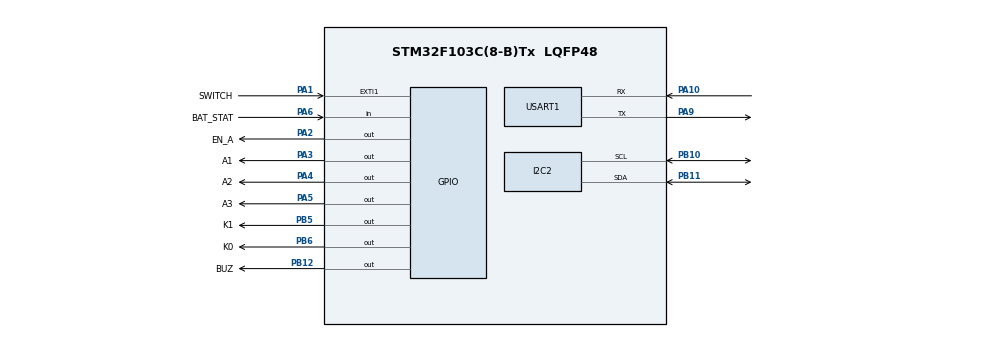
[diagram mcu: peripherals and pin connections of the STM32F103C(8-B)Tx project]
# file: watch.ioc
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Mcu.Family=STM32F1
Mcu.Name=STM32F103C(8-B)Tx
Mcu.Package=LQFP48
NVIC.EXTI1_IRQn=true\:0\:0\:false\:false\:true\:true\:true
NVIC.PriorityGroup=NVIC_PRIORITYGROUP_4
NVIC.TIM2_IRQn=true\:0\:0\:false\:false\:true\:true\:true
NVIC.TIM3_IRQn=true\:0\:0\:false\:false\:true\:true\:true
PA0-WKUP.Mode=SYS_WakeUp0
PA0-WKUP.Signal=SYS_WKUP
PA1.GPIO_Label=SWITCH
PA1.GPIO_ModeDefaultEXTI=GPIO_MODE_IT_RISING_FALLING
PA1.Signal=GPXTI1
PA10.Mode=Asynchronous
PA10.Signal=USART1_RX
PA13.Mode=Serial_Wire
PA13.Signal=SYS_JTMS-SWDIO
PA14.Mode=Serial_Wire
PA14.Signal=SYS_JTCK-SWCLK
PA2.GPIO_Label=EN_A
PA2.Signal=GPIO_Output
PA3.GPIO_Label=A1
PA3.Signal=GPIO_Output
PA4.GPIO_Label=A2
PA4.Signal=GPIO_Output
PA5.GPIO_Label=A3
PA5.Signal=GPIO_Output
PA6.GPIO_Label=BAT_STAT
PA6.Signal=GPIO_Input
PA9.Mode=Asynchronous
PA9.Signal=USART1_TX
PB10.Mode=I2C
PB10.Signal=I2C2_SCL
PB11.Mode=I2C
PB11.Signal=I2C2_SDA
PB12.GPIO_Label=BUZ
PB12.Signal=GPIO_Output
PB5.GPIO_Label=K1
PB5.Signal=GPIO_Output
PB6.GPIO_Label=K0
PB6.Signal=GPIO_Output
PC14-OSC32_IN.Mode=LSE-External-Oscillator
PC14-OSC32_IN.Signal=RCC_OSC32_IN
PC15-OSC32_OUT.Mode=LSE-External-Oscillator
PC15-OSC32_OUT.Signal=RCC_OSC32_OUT
ProjectManager.HeapSize=0x200
ProjectManager.StackSize=0x400
ProjectManager.TargetToolchain=STM32CubeIDE
RCC.APB1Freq_Value=8000000
RCC.APB2Freq_Value=8000000
RCC.RTCClockSelection=RCC_RTCCLKSOURCE_LSE
TIM2.ClockDivision=TIM_CLOCKDIVISION_DIV4
TIM2.Period=999
TIM2.Prescaler=7999
TIM3.AutoReloadPreload=TIM_AUTORELOAD_PRELOAD_DISABLE
TIM3.Period=9
TIM3.Prescaler=99
USART1.VirtualMode=VM_ASYNC
VP_TIM2_VS_ClockSourceINT.Mode=Internal
VP_TIM3_VS_ClockSourceINT.Mode=Internal
board=custom

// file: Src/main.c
/* USER CODE BEGIN Header */
/**
 ******************************************************************************
 * @file           : main.c
 * @brief          : Main program body
 ******************************************************************************
 * @attention
 *
 * <h2><center>&copy; Copyright (c) 2019 STMicroelectronics.
 * All rights reserved.</center></h2>
 *
 * This software component is licensed by ST under BSD 3-Clause license,
 * the "License"; You may not use this file except in compliance with the
 * License. You may obtain a copy of the License at:
 *                        opensource.org/licenses/BSD-3-Clause
 *
 ******************************************************************************
 */
/* USER CODE END Header */

#include "main.h"

I2C_HandleTypeDef hi2c2;

TIM_HandleTypeDef htim2;
TIM_HandleTypeDef htim3;

UART_HandleTypeDef huart1;

/* USER CODE BEGIN PV */

struct LED_CONFIG {
	int led_count;
	int brightness_steps;
} led_config = { .led_count = LED_COUNT, .brightness_steps = 10 };

int counter = 0;

//LEDs and shit
uint8_t brightness[LED_COUNT];
uint8_t brightnessB[LED_COUNT];

uint8_t * ptr_buffer = &brightness[0];
uint8_t * ptr_draw = &brightnessB[0];

uint8_t brt_values[6] = { 0b00000, 0b00100, 0b01010, 0b10101, 0b11011, 0b11111 };

uint8_t blink[16] = { 0, 0, 0, 0, 0, 0, 0, 0, 0, 0, 0, 0, 0, 0, 0, 0 };
uint8_t blink_stat[16] = { 0, 0, 0, 0, 0, 0, 0, 0, 0, 0, 0, 0, 0, 0, 0, 0 };

static uint8_t offsetLED_mapping[4] = { 14, 15, 13, 12 };
//INPUT
int button_state = 0; // 0 = none, 1 = short 2 = long
uint32_t button_time = 0;
const uint32_t button_time_thr = 700;
//Timekeeping
uint8_t hours = 0;
uint8_t minutes = 7;
uint8_t seconds = 0;
uint32_t timestamp = 0;
uint16_t cnth = 0;
int en_timekeeping = 1;
//Timeout
int timeout_state = 0;
static uint32_t timeout[3] = { 0, 10000, 30000 };
int timeout_ref = 0;

//State machine
enum {
	time, menue, program, timeset
};
int state = time;

//Animation
int animation_counter;
/* USER CODE END PV */

void SystemClock_Config(void);
static void MX_GPIO_Init(void);
static void MX_I2C2_Init(void);
static void MX_USART1_UART_Init(void);
static void MX_TIM3_Init(void);
static void MX_TIM2_Init(void);
/* USER CODE BEGIN PFP */
//LEDs
static void flip_Framebuffer();

void set_Time(uint32_t);

static void animation();
static void clear_wakeup();
static void reset_timeout();
static void second_Expired();
static void standby();
uint32_t read_RTC();

/* USER CODE END PFP */

/* USER CODE BEGIN 0 */
uint8_t get_Minute_led() {
	return minutes / 5;
}
uint8_t get_Minute_Offset_led() {
	int val = minutes % 5;
	if (val == 0) {
		return 17;
	}
	return offsetLED_mapping[val - 1];
}
uint8_t get_Hour_led() {
	return hours;
}

void clear_blink() {
	for (int i = 0; i < LED_COUNT; i++) {
		ptr_buffer[i] = 0;
		blink[i] = 0;
		blink_stat[i] = 0;
	}
}

void animation() {
	animation_counter++;
	if (animation_counter >= 1000) {
		animation_counter = 0;
	}
	//blink
	for (int i = 0; i < LED_COUNT; i++) {
		if (blink[i] != 0) {
			if (animation_counter % blink[i] == 0) {
				blink_stat[i] = !blink_stat[i];

			}

			ptr_buffer[i] = blink_stat[i] * 5;
		}
	}

}

void tick() {
	int ticks = HAL_GetTick();
	//Gets called by SysTick_Handler
	if (button_time != 0 && ticks - button_time >= button_time_thr) {
		// Thats a long button press my friends
		button_state = 2;
		button_time = 0;
	}

	//Timeout
	if (timeout[timeout_state] != 0
			&& ticks - timeout_ref > timeout[timeout_state]) {
		standby();
	}
}
void HAL_GPIO_EXTI_Callback(uint16_t GPIO_Pin) {
	reset_timeout();
	if (HAL_GPIO_ReadPin(SWITCH_GPIO_Port, SWITCH_Pin)) {
		//Button pressed
		button_state = 0;
		button_time = HAL_GetTick();

	} else {
		//Button released
		if (HAL_GetTick() - button_time < button_time_thr && button_time != 0) {

			button_state = 1;

		}
		button_time = 0;

	}

}
void HAL_TIM_PeriodElapsedCallback(TIM_HandleTypeDef *htim) {
	if (htim->Instance == TIM3) {
		//Deactivate Matrix
		HAL_GPIO_WritePin(K0_GPIO_Port, K0_Pin, 0);
		HAL_GPIO_WritePin(K1_GPIO_Port, K1_Pin, 0);
		HAL_GPIO_WritePin(EN_A_GPIO_Port, EN_A_Pin, 1);

		//Decide which LED to illuminate
		// 00100 01010 10101 11011 11111
		int led = counter % LED_COUNT;
		int brt_step = (counter / LED_COUNT);
		int curr_brt = ptr_draw[led];
		int en = (brt_values[curr_brt] >> brt_step) & 0x1;
		//Control matrix
		if (en) {

			int temp = led % 8;
			int A1 = temp & 0b1;
			int A2 = (temp & 0b10) >> 1;
			int A3 = (temp & 0b100) >> 2;
			int K0 = 1 - led / 8;
			int K1 = led / 8;

			HAL_GPIO_WritePin(A1_GPIO_Port, A1_Pin, A1);
			HAL_GPIO_WritePin(A2_GPIO_Port, A2_Pin, A2);
			HAL_GPIO_WritePin(A3_GPIO_Port, A3_Pin, A3);
			HAL_GPIO_WritePin(K0_GPIO_Port, K0_Pin, K0);
			HAL_GPIO_WritePin(K1_GPIO_Port, K1_Pin, K1);
			HAL_GPIO_WritePin(EN_A_GPIO_Port, EN_A_Pin, 0);

		} else {
			/*HAL_GPIO_WritePin(EN_A_GPIO_Port, EN_A_Pin, 1);
			 HAL_GPIO_WritePin(K0_GPIO_Port, K0_Pin, 0);
			 HAL_GPIO_WritePin(K1_GPIO_Port, K1_Pin, 0);*/
		}

		//counter
		counter++;
		if (counter >= 16 * 6) {
			counter = 0;
		}

	} else if (htim->Instance == TIM2) {
		//animation();
		second_Expired();
	}
}
static void flip_Framebuffer() {
	//DO SOME SWAP MAGIC (TM)
	uint8_t * ptr_temp = ptr_buffer;
	ptr_buffer = ptr_draw;
	ptr_draw = ptr_temp;
	/*
	 ptr_draw = (void*) ((uintptr_t) ptr_draw ^ (uintptr_t) ptr_buffer);
	 ptr_buffer = (void*) ((uintptr_t) ptr_draw ^ (uintptr_t) ptr_buffer);
	 ptr_draw = (void*) ((uintptr_t) ptr_draw ^ (uintptr_t) ptr_buffer);
	 */

}
static void draw_time(int blink_min, int blink_h, int blink_ofst) {
	uint8_t min = get_Minute_led();
	uint8_t h = get_Hour_led();
	uint8_t ofst = get_Minute_Offset_led();

	for (int i = 0; i < 16; i++) {
		if (i == min) {
			blink[i] = blink_min;
		} else if (i == h) {
			blink[i] = blink_h;
		} else if (i == ofst) {
			blink[i] = blink_ofst;
		} else {
			blink[i] = 0;
		}

		ptr_buffer[i] = (min == i) || (h == i) || (ofst == i) ? 5 : 0;

		/*if (i == min) {
		 blink[i] = 10;
		 }
		 else{
		 blink[i] = 0;
		 }
		 if (blink[i] == 0) {
		 ptr_buffer[i] = (h == i) || (ofst == i) ? 5 : 0;
		 }*/

	}

}
void second_Expired() {

	if (en_timekeeping) {
		set_Time(read_RTC());
	}
	/*
	 if (en_timekeeping) {
	 seconds++;
	 if (seconds >= 60) {
	 seconds = 0;
	 minutes++;
	 if (minutes >= 60) {
	 minutes = 0;
	 hours++;
	 if (hours >= 12) {
	 hours = 0;
	 }
	 }
	 }
	 }*/
}
void standby() {
	SCB->SCR |= SCB_SCR_SLEEPDEEP_Msk;
	//PWR->CR->PDDS 1
	PWR->CR |= PWR_CR_PDDS;

	clear_wakeup();
	//WKP PIN
	PWR->CSR |= PWR_CSR_EWUP;
	//Sleepdeep

	HAL_GPIO_WritePin(K0_GPIO_Port, K0_Pin, 0);
	HAL_GPIO_WritePin(K1_GPIO_Port, K1_Pin, 0);
	HAL_GPIO_WritePin(EN_A_GPIO_Port, EN_A_Pin, 1);

	__WFI();
}
void reset_timeout() {
	timeout_ref = HAL_GetTick();
}
void clear_wakeup() {
	//Clear Standby Flag
	PWR->CR |= PWR_CR_CSBF;
	//Clear Wakeup Event Flag
	PWR->CR |= PWR_CR_CWUF;
}
void wait_RTC_write() {
	while (!(RTC->CRL & RTC_CRL_RTOFF)) {
		asm("NOP");
	}
}
void RTC_init() {

	//Enable RTC & backup domain clocks
	RCC->APB1ENR |= RCC_APB1ENR_PWREN;
	RCC->APB1ENR |= RCC_APB1ENR_BKPEN;
	//unlock backup domain registers
	PWR->CR |= PWR_CR_DBP;
	//activate LSE clock
	RCC->BDCR |= RCC_BDCR_LSEON;
	// check if LSE is running

	/*
	 * SOME LOOPY SHIT NECESSARY
	 */
	while (1) {
		if (RCC->BDCR & RCC_BDCR_LSERDY) {
			//COOL THIS IS UP AND RUNNING!!!!!!
			break;
		} else {
			//SHIT THE QUARTZ IS NOT FEELING IT TODAY:(
		}
	}
	//select LSE as RTC CLOCK
	RCC->BDCR |= RCC_BDCR_RTCSEL_LSE;
	//enable RTC
	RCC->BDCR |= RCC_BDCR_RTCEN;

	wait_RTC_write();
	//Set the prescaler (VALUE STOLEN FROM DATASHEET)
	RTC->PRLL |= 0x7FFF;

}

void set_Time(uint32_t t) {
	seconds = t % 60;
	minutes = (t / 60) % 60;
	hours = (t / 60 / 60) % 12;
}
uint32_t generate_Timestamp() {
	return hours * 60 * 60 + minutes * 60 + seconds;
}
uint32_t read_RTC() {
	timestamp  = (RTC->CNTH << 16) |  RTC->CNTL;
	return timestamp;
}
uint32_t write_RTC(uint32_t t) {
	//see 18.3.4 in reference manual
	uint16_t H = t >> 16;
	uint16_t L = t & 0xFFFF;

	//enter RTC config mode
	wait_RTC_write();
	RTC->CRL |= RTC_CRL_CNF;
	//Write count bits
	wait_RTC_write();
	RTC->CNTH = H;
	wait_RTC_write();
	RTC->CNTL = L;
	//leave RTC config mode
	wait_RTC_write();
	RTC->CRL &= ~RTC_CRL_CNF;

	//wait until all write operations finished
	wait_RTC_write();

}

void program_second() {
	uint8_t sec_offset = (seconds%60)%5;
	uint8_t offst_led = 17;
	if(sec_offset != 0){
		offst_led = offsetLED_mapping[sec_offset-1];
	}
	for (int i = 0; i < 16; i++) {
		ptr_buffer[i] = (i == offst_led) | (i==(seconds%60)/5) ? 5:0;
	}
	if (button_state == 1) {
		button_state = 0;
		state = time;
	}
}

/* USER CODE END 0 */

int main(void) {

	/* MCU Configuration--------------------------------------------------------*/

	/* Reset of all peripherals, Initializes the Flash interface and the Systick. */
	HAL_Init();

	/* Configure the system clock */
	SystemClock_Config();

	/* Initialize all configured peripherals */
	MX_GPIO_Init();
	MX_I2C2_Init();
	MX_USART1_UART_Init();
	MX_TIM3_Init();
	MX_TIM2_Init();
	/* USER CODE BEGIN 2 */
	//INIT RTC
	RTC_init();
	set_Time(read_RTC());
	HAL_TIM_Base_Start_IT(&htim2);
	HAL_TIM_Base_Start_IT(&htim3);

	/* USER CODE END 2 */

	/* Infinite loop */
	/* USER CODE BEGIN WHILE */
	uint32_t starttime = HAL_GetTick();
	uint32_t now;
	int programm_nr = 0;
//timeset vars
	int timeset_state = 0;
	while (1) {
		switch (state) {
		case time:
			//short standby timeout
			timeout_state = 0;
			//DRAW
			draw_time(10, 0, 0);
			/*for (int i = 0; i<16; i++){
			 ptr_buffer[i] = (5>i) ? 5 : 0;
			 }*/
			if (button_state == 1) {
				button_state = 0;
				clear_blink();
				state = menue;
				programm_nr = 0;
			} else if (button_state == 2) {
				button_state = 0;
				clear_blink();
				state = timeset;
				programm_nr = 0;
			}

			break;
		case menue:
			//long standby timeout
			timeout_state = 0;
			for (int i = 0; i < 16; i++) {
				ptr_buffer[i] = (offsetLED_mapping[programm_nr] == i) ? 5 : 0;

			}
			if (button_state == 2) {
				button_state = 0;
				if (programm_nr < 4) {
					state = program;
				}
			} else if (button_state == 1) {
				button_state = 0;
				programm_nr++;
				if (programm_nr == 4) {
					programm_nr = 0;
					state = time;
				}

			}
			break;
		case program:
			//long standby timeout
			if (programm_nr == 0) {
				program_second();
			} else {
				timeout_state = 0;
				state = time;
			}
			break;
		case timeset:
			//long standby timeout
			timeout_state = 2;
			//disable timekeeping
			en_timekeeping = 0;
			if (button_state == 1) {

				button_state = 0;
				clear_blink();
				switch (timeset_state) {
				case 0:
					//H
					hours++;
					if (hours > 11) {
						hours = 0;
					}
					break;
				case 1:
					//MIN
					minutes += 5;
					minutes = minutes - minutes % 5;
					if (minutes >= 60) {
						minutes -= 60;
					}
					break;
				case 2:
					//MIN OFFSET
					minutes += 1;
					if (minutes >= 60) {
						minutes = 0;
					}
					break;
				}

			}

			switch (timeset_state) {
			case 0:

				draw_time(10, 3, 0);
				break;
			case 1:

				draw_time(3, 0, 0);
				break;
			case 2:

				draw_time(10, 0, 3);
				break;
			default:
				break;
			}
			if (button_state == 2) {

				button_state = 0;
				timeset_state++;
				if (timeset_state == 3) {
					//save everything first

					seconds = 0;
					write_RTC(generate_Timestamp());

					//enable timekeeping again
					en_timekeeping = 1;

					state = time;
					timeset_state = 0;

				}

				clear_blink();

			}
			break;
		default:
			break;
		}
		animation();

		//Gameloop moves
		now = HAL_GetTick();
		int period = 50;
		if (now - starttime < period) {
			HAL_Delay(period - (now - starttime));
		}
		starttime = now;
		flip_Framebuffer();

		/* USER CODE END WHILE */

	}
}

void SystemClock_Config(void) {
	RCC_OscInitTypeDef RCC_OscInitStruct = { 0 };
	RCC_ClkInitTypeDef RCC_ClkInitStruct = { 0 };

	/** Initializes the CPU, AHB and APB busses clocks
	 */
	RCC_OscInitStruct.OscillatorType = RCC_OSCILLATORTYPE_HSI;
	RCC_OscInitStruct.HSIState = RCC_HSI_ON;
	RCC_OscInitStruct.HSICalibrationValue = RCC_HSICALIBRATION_DEFAULT;
	RCC_OscInitStruct.PLL.PLLState = RCC_PLL_NONE;
	if (HAL_RCC_OscConfig(&RCC_OscInitStruct) != HAL_OK) {
		Error_Handler();
	}
	/** Initializes the CPU, AHB and APB busses clocks
	 */
	RCC_ClkInitStruct.ClockType = RCC_CLOCKTYPE_HCLK | RCC_CLOCKTYPE_SYSCLK
			| RCC_CLOCKTYPE_PCLK1 | RCC_CLOCKTYPE_PCLK2;
	RCC_ClkInitStruct.SYSCLKSource = RCC_SYSCLKSOURCE_HSI;
	RCC_ClkInitStruct.AHBCLKDivider = RCC_SYSCLK_DIV1;
	RCC_ClkInitStruct.APB1CLKDivider = RCC_HCLK_DIV1;
	RCC_ClkInitStruct.APB2CLKDivider = RCC_HCLK_DIV1;

	if (HAL_RCC_ClockConfig(&RCC_ClkInitStruct, FLASH_LATENCY_0) != HAL_OK) {
		Error_Handler();
	}
}

static void MX_I2C2_Init(void) {

	hi2c2.Instance = I2C2;
	hi2c2.Init.ClockSpeed = 100000;
	hi2c2.Init.DutyCycle = I2C_DUTYCYCLE_2;
	hi2c2.Init.OwnAddress1 = 0;
	hi2c2.Init.AddressingMode = I2C_ADDRESSINGMODE_7BIT;
	hi2c2.Init.DualAddressMode = I2C_DUALADDRESS_DISABLE;
	hi2c2.Init.OwnAddress2 = 0;
	hi2c2.Init.GeneralCallMode = I2C_GENERALCALL_DISABLE;
	hi2c2.Init.NoStretchMode = I2C_NOSTRETCH_DISABLE;
	if (HAL_I2C_Init(&hi2c2) != HAL_OK) {
		Error_Handler();
	}

}

static void MX_TIM2_Init(void) {

	TIM_ClockConfigTypeDef sClockSourceConfig = { 0 };
	TIM_MasterConfigTypeDef sMasterConfig = { 0 };

	htim2.Instance = TIM2;
	htim2.Init.Prescaler = 7999;
	htim2.Init.CounterMode = TIM_COUNTERMODE_UP;
	htim2.Init.Period = 99;
	htim2.Init.ClockDivision = TIM_CLOCKDIVISION_DIV4;
	htim2.Init.AutoReloadPreload = TIM_AUTORELOAD_PRELOAD_DISABLE;
	if (HAL_TIM_Base_Init(&htim2) != HAL_OK) {
		Error_Handler();
	}
	sClockSourceConfig.ClockSource = TIM_CLOCKSOURCE_INTERNAL;
	if (HAL_TIM_ConfigClockSource(&htim2, &sClockSourceConfig) != HAL_OK) {
		Error_Handler();
	}
	sMasterConfig.MasterOutputTrigger = TIM_TRGO_RESET;
	sMasterConfig.MasterSlaveMode = TIM_MASTERSLAVEMODE_DISABLE;
	if (HAL_TIMEx_MasterConfigSynchronization(&htim2, &sMasterConfig)
			!= HAL_OK) {
		Error_Handler();
	}

}

static void MX_TIM3_Init(void) {

	/* USER CODE BEGIN TIM3_Init 0 */
//100-1
//10-1
	/* USER CODE END TIM3_Init 0 */

	TIM_ClockConfigTypeDef sClockSourceConfig = { 0 };
	TIM_MasterConfigTypeDef sMasterConfig = { 0 };

	htim3.Instance = TIM3;
	htim3.Init.Prescaler = 99;
	htim3.Init.CounterMode = TIM_COUNTERMODE_UP;
	htim3.Init.Period = 9;
	htim3.Init.ClockDivision = TIM_CLOCKDIVISION_DIV1;
	htim3.Init.AutoReloadPreload = TIM_AUTORELOAD_PRELOAD_DISABLE;
	if (HAL_TIM_Base_Init(&htim3) != HAL_OK) {
		Error_Handler();
	}
	sClockSourceConfig.ClockSource = TIM_CLOCKSOURCE_INTERNAL;
	if (HAL_TIM_ConfigClockSource(&htim3, &sClockSourceConfig) != HAL_OK) {
		Error_Handler();
	}
	sMasterConfig.MasterOutputTrigger = TIM_TRGO_RESET;
	sMasterConfig.MasterSlaveMode = TIM_MASTERSLAVEMODE_DISABLE;
	if (HAL_TIMEx_MasterConfigSynchronization(&htim3, &sMasterConfig)
			!= HAL_OK) {
		Error_Handler();
	}

}

static void MX_USART1_UART_Init(void) {

	huart1.Instance = USART1;
	huart1.Init.BaudRate = 115200;
	huart1.Init.WordLength = UART_WORDLENGTH_8B;
	huart1.Init.StopBits = UART_STOPBITS_1;
	huart1.Init.Parity = UART_PARITY_NONE;
	huart1.Init.Mode = UART_MODE_TX_RX;
	huart1.Init.HwFlowCtl = UART_HWCONTROL_NONE;
	huart1.Init.OverSampling = UART_OVERSAMPLING_16;
	if (HAL_UART_Init(&huart1) != HAL_OK) {
		Error_Handler();
	}

}

static void MX_GPIO_Init(void) {
	GPIO_InitTypeDef GPIO_InitStruct = { 0 };

	/* GPIO Ports Clock Enable */
	__HAL_RCC_GPIOC_CLK_ENABLE()
	;
	__HAL_RCC_GPIOA_CLK_ENABLE()
	;
	__HAL_RCC_GPIOB_CLK_ENABLE()
	;

	/*Configure GPIO pin Output Level */
	HAL_GPIO_WritePin(GPIOA, EN_A_Pin | A1_Pin | A2_Pin | A3_Pin,
			GPIO_PIN_RESET);

	/*Configure GPIO pin Output Level */
	HAL_GPIO_WritePin(GPIOB, BUZ_Pin | K1_Pin | K0_Pin, GPIO_PIN_RESET);

	/*Configure GPIO pin : SWITCH_Pin */
	GPIO_InitStruct.Pin = SWITCH_Pin;
	GPIO_InitStruct.Mode = GPIO_MODE_IT_RISING_FALLING;
	GPIO_InitStruct.Pull = GPIO_NOPULL;
	HAL_GPIO_Init(SWITCH_GPIO_Port, &GPIO_InitStruct);

	/*Configure GPIO pins : EN_A_Pin A1_Pin A2_Pin A3_Pin */
	GPIO_InitStruct.Pin = EN_A_Pin | A1_Pin | A2_Pin | A3_Pin;
	GPIO_InitStruct.Mode = GPIO_MODE_OUTPUT_PP;
	GPIO_InitStruct.Pull = GPIO_NOPULL;
	GPIO_InitStruct.Speed = GPIO_SPEED_FREQ_LOW;
	HAL_GPIO_Init(GPIOA, &GPIO_InitStruct);

	/*Configure GPIO pin : BAT_STAT_Pin */
	GPIO_InitStruct.Pin = BAT_STAT_Pin;
	GPIO_InitStruct.Mode = GPIO_MODE_INPUT;
	GPIO_InitStruct.Pull = GPIO_NOPULL;
	HAL_GPIO_Init(BAT_STAT_GPIO_Port, &GPIO_InitStruct);

	/*Configure GPIO pins : BUZ_Pin K1_Pin K0_Pin */
	GPIO_InitStruct.Pin = BUZ_Pin | K1_Pin | K0_Pin;
	GPIO_InitStruct.Mode = GPIO_MODE_OUTPUT_PP;
	GPIO_InitStruct.Pull = GPIO_NOPULL;
	GPIO_InitStruct.Speed = GPIO_SPEED_FREQ_LOW;
	HAL_GPIO_Init(GPIOB, &GPIO_InitStruct);

	/* EXTI interrupt init*/
	HAL_NVIC_SetPriority(EXTI1_IRQn, 0, 0);
	HAL_NVIC_EnableIRQ(EXTI1_IRQn);

}

void Error_Handler(void) {
	/* USER CODE BEGIN Error_Handler_Debug */
	/* User can add his own implementation to report the HAL error return state */
	HAL_GPIO_WritePin(A2_GPIO_Port, A2_Pin, GPIO_PIN_SET);
	/* USER CODE END Error_Handler_Debug */
}

/************************ (C) COPYRIGHT STMicroelectronics *****END OF FILE****/
